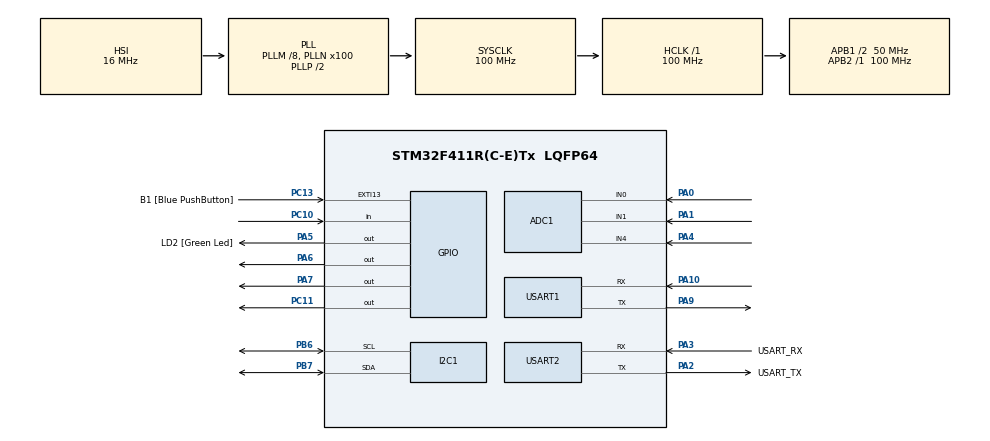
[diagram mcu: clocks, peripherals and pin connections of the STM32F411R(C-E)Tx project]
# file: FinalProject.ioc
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ADC1.Channel-0\#ChannelRegularConversion=ADC_CHANNEL_0
ADC1.Channel-1\#ChannelRegularConversion=ADC_CHANNEL_0
ADC1.Channel-2\#ChannelRegularConversion=ADC_CHANNEL_0
ADC1.NbrOfConversion=3
ADC1.NbrOfConversionFlag=1
ADC1.Rank-0\#ChannelRegularConversion=1
ADC1.Rank-1\#ChannelRegularConversion=2
ADC1.Rank-2\#ChannelRegularConversion=3
ADC1.SamplingTime-0\#ChannelRegularConversion=ADC_SAMPLETIME_3CYCLES
ADC1.SamplingTime-1\#ChannelRegularConversion=ADC_SAMPLETIME_3CYCLES
ADC1.SamplingTime-2\#ChannelRegularConversion=ADC_SAMPLETIME_3CYCLES
ADC1.master=1
I2C1.OwnAddress=1
Mcu.Family=STM32F4
Mcu.Name=STM32F411R(C-E)Tx
Mcu.Package=LQFP64
NVIC.EXTI15_10_IRQn=true\:0\:0\:false\:false\:true\:true\:true\:true
NVIC.PriorityGroup=NVIC_PRIORITYGROUP_4
NVIC.TIM2_IRQn=true\:0\:0\:false\:false\:true\:true\:true\:true
NVIC.TIM3_IRQn=true\:0\:0\:false\:false\:true\:true\:true\:true
NVIC.USART1_IRQn=true\:0\:0\:false\:false\:true\:true\:true\:true
PA0-WKUP.Signal=ADCx_IN0
PA1.Signal=ADCx_IN1
PA10.Mode=Asynchronous
PA10.Signal=USART1_RX
PA13.GPIO_Label=TMS
PA13.Mode=Serial_Wire
PA13.Signal=SYS_JTMS-SWDIO
PA14.GPIO_Label=TCK
PA14.Mode=Serial_Wire
PA14.Signal=SYS_JTCK-SWCLK
PA2.GPIO_Label=USART_TX
PA2.Mode=Asynchronous
PA2.Signal=USART2_TX
PA3.GPIO_Label=USART_RX
PA3.Mode=Asynchronous
PA3.Signal=USART2_RX
PA4.Signal=ADCx_IN4
PA5.GPIO_Label=LD2 [Green Led]
PA5.Signal=GPIO_Output
PA6.Signal=GPIO_Output
PA7.Signal=GPIO_Output
PA9.Mode=Asynchronous
PA9.Signal=USART1_TX
PB3.GPIO_Label=SWO
PB3.Signal=SYS_JTDO-SWO
PB6.Mode=I2C
PB6.Signal=I2C1_SCL
PB7.Mode=I2C
PB7.Signal=I2C1_SDA
PC10.Signal=GPIO_Input
PC11.Signal=GPIO_Output
PC13-ANTI_TAMP.GPIO_Label=B1 [Blue PushButton]
PC13-ANTI_TAMP.GPIO_ModeDefaultEXTI=GPIO_MODE_IT_FALLING
PC13-ANTI_TAMP.Signal=GPXTI13
PC14-OSC32_IN.Mode=LSE-External-Oscillator
PC14-OSC32_IN.Signal=RCC_OSC32_IN
PC15-OSC32_OUT.Mode=LSE-External-Oscillator
PC15-OSC32_OUT.Signal=RCC_OSC32_OUT
PH0\ -\ OSC_IN.Mode=HSE-External-Clock-Source
PH0\ -\ OSC_IN.Signal=RCC_OSC_IN
PH1\ -\ OSC_OUT.Mode=HSE-External-Clock-Source
PH1\ -\ OSC_OUT.Signal=RCC_OSC_OUT
ProjectManager.HeapSize=0x200
ProjectManager.StackSize=0x400
ProjectManager.TargetToolchain=STM32CubeIDE
RCC.48MHZClocksFreq_Value=50000000
RCC.AHBFreq_Value=100000000
RCC.APB1CLKDivider=RCC_HCLK_DIV2
RCC.APB1Freq_Value=50000000
RCC.APB1TimFreq_Value=100000000
RCC.APB2Freq_Value=100000000
RCC.APB2TimFreq_Value=100000000
RCC.CortexFreq_Value=100000000
RCC.FLatency-AdvancedSettings=FLASH_LATENCY_3
RCC.HCLKFreq_Value=100000000
RCC.HSE_VALUE=8000000
RCC.HSI_VALUE=16000000
RCC.PLLM=8
RCC.PLLN=100
RCC.SYSCLKFreq_VALUE=100000000
RCC.SYSCLKSource=RCC_SYSCLKSOURCE_PLLCLK
RCC.VCOOutputFreq_Value=200000000
SH.ADCx_IN0.0=ADC1_IN0,IN0
SH.ADCx_IN1.0=ADC1_IN1,IN1
SH.ADCx_IN4.0=ADC1_IN4,IN4
TIM1.Prescaler=63
TIM2.Period=10000000
TIM2.Prescaler=100
TIM3.Period=10000
TIM3.Prescaler=1000
USART1.VirtualMode=VM_ASYNC
USART2.VirtualMode=VM_ASYNC
VP_TIM1_VS_ClockSourceINT.Mode=Internal
VP_TIM2_VS_ClockSourceINT.Mode=Internal
VP_TIM3_VS_ClockSourceINT.Mode=Internal
board=NUCLEO-F411RE

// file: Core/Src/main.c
/* USER CODE BEGIN Header */
/**
  ******************************************************************************
  * @file           : main.c
  * @brief          : Main program body
  ******************************************************************************
  * @attention
  *
  * Copyright (c) 2023 STMicroelectronics.
  * All rights reserved.
  *
  * This software is licensed under terms that can be found in the LICENSE file
  * in the root directory of this software component.
  * If no LICENSE file comes with this software, it is provided AS-IS.
  *
  ******************************************************************************
  */
/* USER CODE END Header */
#include "main.h"

/* USER CODE BEGIN Includes */
#include "ds18b20.h"
#include "onewire.h"
#include "ssd1306.h"
/* USER CODE END Includes */

ADC_HandleTypeDef hadc1;

I2C_HandleTypeDef hi2c1;

TIM_HandleTypeDef htim1;
TIM_HandleTypeDef htim2;
TIM_HandleTypeDef htim3;

UART_HandleTypeDef huart1;
UART_HandleTypeDef huart2;

void SystemClock_Config(void);
static void MX_GPIO_Init(void);
static void MX_USART2_UART_Init(void);
static void MX_ADC1_Init(void);
static void MX_TIM2_Init(void);
static void MX_USART1_UART_Init(void);
static void MX_TIM1_Init(void);
static void MX_I2C1_Init(void);
static void MX_TIM3_Init(void);

/* USER CODE BEGIN 0 */
int workingInProgress = 0,dataPrepared = 0,currentPositionOfBuffer = 0;
int pressedButton = 0;
uint8_t buffer[20],receivedData[10];
ADC_ChannelConfTypeDef sConfig = {0};

void HAL_TIM_PeriodElapsedCallback(TIM_HandleTypeDef* htim){
//	HAL_UART_Transmit(&huart2, "Interrupted\n\r", 13, 100);
	if(htim->Instance == TIM3){
		if(!dataPrepared)
			return ;
		// Display the counter values via UART
		if(currentPositionOfBuffer == 12){
			HAL_UART_Transmit(&huart2, "\n\r", 2, 100);
			dataPrepared = 0;
			workingInProgress = 0;
			return ;
		}
		HAL_UART_Transmit(&huart1, &buffer[currentPositionOfBuffer], 1, 10);
		HAL_UART_Transmit(&huart2, &buffer[currentPositionOfBuffer], 1, 10);
		currentPositionOfBuffer++;
	}else if(htim->Instance == TIM2){
		pressedButton = 1;
		HAL_UART_Transmit(&huart2, "Sending...\n\r", 12, 100);
	}
}

void HAL_UART_RxCpltCallback(UART_HandleTypeDef *huart){
	workingInProgress = 0;
	HAL_UART_Receive_IT(&huart1, receivedData, 1);
}

float tempRead(){
	DS18B20_ReadAll();
	HAL_GPIO_WritePin(GPIOC, GPIO_PIN_11, 1);
	DS18B20_StartAll();
	HAL_GPIO_WritePin(GPIOC, GPIO_PIN_11, 0);
	uint8_t ROM_tmp[8];
	uint8_t i;
	float temperature;
	for(i=0;i<DS18B20_Quantity();i++){
		if(DS18B20_GetTemperature(i, &temperature)){
			return temperature;
		}
	}
}
/* USER CODE END 0 */

int main(void)
{

  /* MCU Configuration--------------------------------------------------------*/

  /* Reset of all peripherals, Initializes the Flash interface and the Systick. */
  HAL_Init();

  /* Configure the system clock */
  SystemClock_Config();

  /* Initialize all configured peripherals */
  MX_GPIO_Init();
  MX_USART2_UART_Init();
  MX_ADC1_Init();
  MX_TIM2_Init();
  MX_USART1_UART_Init();
  MX_TIM1_Init();
  MX_I2C1_Init();
  MX_TIM3_Init();
  /* USER CODE BEGIN 2 */
  HAL_TIM_Base_Start_IT(&htim2);
  HAL_TIM_Base_Start_IT(&htim3);
  HAL_UART_Receive_IT(&huart1, receivedData, 1);

  DS18B20_Init(DS18B20_Resolution_12bits);
  HAL_GPIO_WritePin(GPIOC, GPIO_PIN_11, 0);
  /* USER CODE END 2 */

  /* Infinite loop */
  /* USER CODE BEGIN WHILE */

  ssd1306_init();

  ssd1306_write_string(font11x18, "");
  ssd1306_enter();
  ssd1306_write_string(font11x18, "Hello World");
  ssd1306_enter();

  ssd1306_update_screen();

  sConfig.Channel = ADC_CHANNEL_0;
  sConfig.Rank = 1;
  sConfig.SamplingTime = ADC_SAMPLETIME_3CYCLES;
  int pressing = 0;
  HAL_UART_Transmit(&huart2, "Initialize successful\n\r", 23, HAL_MAX_DELAY);
  while (1)
  {
//	 int pressedButton = !HAL_GPIO_ReadPin(GPIOC, GPIO_PIN_13);
	 HAL_GPIO_WritePin(GPIOA, GPIO_PIN_5, !workingInProgress);
	 HAL_GPIO_WritePin(GPIOA, GPIO_PIN_7, workingInProgress);
	 HAL_GPIO_WritePin(GPIOC, GPIO_PIN_7, workingInProgress);

	 if(pressedButton && !pressing && !workingInProgress){
		 pressedButton = 0;
		 pressing = 1;
		 workingInProgress = 1;
		 dataPrepared = 0;
		 HAL_GPIO_WritePin(GPIOA, GPIO_PIN_5, GPIO_PIN_RESET);
		 HAL_GPIO_WritePin(GPIOA, GPIO_PIN_7, GPIO_PIN_SET);
		 HAL_GPIO_WritePin(GPIOC, GPIO_PIN_7, GPIO_PIN_SET);

		 ssd1306_black_screen();
		 ssd1306_set_cursor(0, 0);
		 ssd1306_write_string(font11x18, "");
		 ssd1306_enter();
		 ssd1306_write_string(font11x18, "Working...");
		 ssd1306_update_screen();

		 // get Value from thermo Sensor
		 int thermoAv = 0;
		 float thermoSum = 0;
		 for(int i=1;i<=100;i++){
			 thermoSum+=tempRead();
		 }
		 thermoAv = thermoSum/10;

		 // get Value from TDS Sensor
		 int TDSav = 0;
		 sConfig.Channel = ADC_CHANNEL_0;

		 for(int i=1;i<=100;i++){
			 HAL_ADC_ConfigChannel(&hadc1, &sConfig);
			 HAL_ADC_Start(&hadc1);
			 int adcValue;
			 if(HAL_ADC_PollForConversion(&hadc1, 100) == HAL_OK){
				adcValue = HAL_ADC_GetValue(&hadc1);
				TDSav+=adcValue;
			 }
		 }
		 TDSav = TDSav/100;
		 float averageVoltage = (TDSav * 5.0) / 1024;
		 float compensationCoefficient=1.0+0.02*(thermoAv-25.0);    //temperature compensation formula: fFinalResult(25^C) = fFinalResult(current)/(1.0+0.02*(fTP-25.0));
		 float compensationVolatge=averageVoltage/compensationCoefficient;  //temperature compensation
		 int tdsValue = (133.42*compensationVolatge*compensationVolatge*compensationVolatge - 255.86*compensationVolatge*compensationVolatge + 857.39*compensationVolatge)*0.5; //convert voltage value to tds value
		 if(tdsValue > 999)
			 tdsValue = 999;

		 // get Value from Water Sensor
		 int O2av = HAL_GPIO_ReadPin(GPIOC, GPIO_PIN_10) | 1;

		 // Convert Int to String
		 sprintf(buffer, "%04d", tdsValue);
		 sprintf(buffer+4, "%04d", thermoAv);
		 sprintf(buffer+8, "%04d", O2av);
		 buffer[0] = 'A';
		 buffer[4] = 'B';
		 buffer[8] = 'C';
		 buffer[12] = '\0';

		 currentPositionOfBuffer = 0;
		 dataPrepared = 1;

		 ssd1306_black_screen();
		 ssd1306_set_cursor(0, 0);
		 char scrBuffer[15];
		 sprintf(scrBuffer, "TDS: %dppm",tdsValue);
		 ssd1306_write_string(font11x18, scrBuffer);
		 ssd1306_enter();
		 sprintf(scrBuffer, "Temp: %d C",thermoAv/10);
		 ssd1306_write_string(font11x18, scrBuffer);
//		 ssd1306_enter();
//		 if(O2av)
//			 sprintf(scrBuffer, "Water: YES");
//		 else
//			 sprintf(scrBuffer, "Water: NO");
//		 ssd1306_write_string(font11x18, scrBuffer);
		 ssd1306_enter();
		 ssd1306_update_screen();
	 }else if(!pressedButton && pressing){
		 pressing = 0;
	 }
    /* USER CODE END WHILE */

  }
}

void SystemClock_Config(void)
{
  RCC_OscInitTypeDef RCC_OscInitStruct = {0};
  RCC_ClkInitTypeDef RCC_ClkInitStruct = {0};

  /** Configure the main internal regulator output voltage
  */
  __HAL_RCC_PWR_CLK_ENABLE();
  __HAL_PWR_VOLTAGESCALING_CONFIG(PWR_REGULATOR_VOLTAGE_SCALE1);

  /** Initializes the RCC Oscillators according to the specified parameters
  * in the RCC_OscInitTypeDef structure.
  */
  RCC_OscInitStruct.OscillatorType = RCC_OSCILLATORTYPE_HSI;
  RCC_OscInitStruct.HSIState = RCC_HSI_ON;
  RCC_OscInitStruct.HSICalibrationValue = RCC_HSICALIBRATION_DEFAULT;
  RCC_OscInitStruct.PLL.PLLState = RCC_PLL_ON;
  RCC_OscInitStruct.PLL.PLLSource = RCC_PLLSOURCE_HSI;
  RCC_OscInitStruct.PLL.PLLM = 8;
  RCC_OscInitStruct.PLL.PLLN = 100;
  RCC_OscInitStruct.PLL.PLLP = RCC_PLLP_DIV2;
  RCC_OscInitStruct.PLL.PLLQ = 4;
  if (HAL_RCC_OscConfig(&RCC_OscInitStruct) != HAL_OK)
  {
    Error_Handler();
  }

  /** Initializes the CPU, AHB and APB buses clocks
  */
  RCC_ClkInitStruct.ClockType = RCC_CLOCKTYPE_HCLK|RCC_CLOCKTYPE_SYSCLK
                              |RCC_CLOCKTYPE_PCLK1|RCC_CLOCKTYPE_PCLK2;
  RCC_ClkInitStruct.SYSCLKSource = RCC_SYSCLKSOURCE_PLLCLK;
  RCC_ClkInitStruct.AHBCLKDivider = RCC_SYSCLK_DIV1;
  RCC_ClkInitStruct.APB1CLKDivider = RCC_HCLK_DIV2;
  RCC_ClkInitStruct.APB2CLKDivider = RCC_HCLK_DIV1;

  if (HAL_RCC_ClockConfig(&RCC_ClkInitStruct, FLASH_LATENCY_3) != HAL_OK)
  {
    Error_Handler();
  }
}

static void MX_ADC1_Init(void)
{

  ADC_ChannelConfTypeDef sConfig = {0};

  /** Configure the global features of the ADC (Clock, Resolution, Data Alignment and number of conversion)
  */
  hadc1.Instance = ADC1;
  hadc1.Init.ClockPrescaler = ADC_CLOCK_SYNC_PCLK_DIV4;
  hadc1.Init.Resolution = ADC_RESOLUTION_12B;
  hadc1.Init.ScanConvMode = ENABLE;
  hadc1.Init.ContinuousConvMode = DISABLE;
  hadc1.Init.DiscontinuousConvMode = DISABLE;
  hadc1.Init.ExternalTrigConvEdge = ADC_EXTERNALTRIGCONVEDGE_NONE;
  hadc1.Init.ExternalTrigConv = ADC_SOFTWARE_START;
  hadc1.Init.DataAlign = ADC_DATAALIGN_RIGHT;
  hadc1.Init.NbrOfConversion = 3;
  hadc1.Init.DMAContinuousRequests = DISABLE;
  hadc1.Init.EOCSelection = ADC_EOC_SINGLE_CONV;
  if (HAL_ADC_Init(&hadc1) != HAL_OK)
  {
    Error_Handler();
  }

  /** Configure for the selected ADC regular channel its corresponding rank in the sequencer and its sample time.
  */
  sConfig.Channel = ADC_CHANNEL_0;
  sConfig.Rank = 1;
  sConfig.SamplingTime = ADC_SAMPLETIME_3CYCLES;
  if (HAL_ADC_ConfigChannel(&hadc1, &sConfig) != HAL_OK)
  {
    Error_Handler();
  }

  /** Configure for the selected ADC regular channel its corresponding rank in the sequencer and its sample time.
  */
  sConfig.Rank = 2;
  if (HAL_ADC_ConfigChannel(&hadc1, &sConfig) != HAL_OK)
  {
    Error_Handler();
  }

  /** Configure for the selected ADC regular channel its corresponding rank in the sequencer and its sample time.
  */
  sConfig.Rank = 3;
  if (HAL_ADC_ConfigChannel(&hadc1, &sConfig) != HAL_OK)
  {
    Error_Handler();
  }

}

static void MX_I2C1_Init(void)
{

  hi2c1.Instance = I2C1;
  hi2c1.Init.ClockSpeed = 100000;
  hi2c1.Init.DutyCycle = I2C_DUTYCYCLE_2;
  hi2c1.Init.OwnAddress1 = 2;
  hi2c1.Init.AddressingMode = I2C_ADDRESSINGMODE_7BIT;
  hi2c1.Init.DualAddressMode = I2C_DUALADDRESS_DISABLE;
  hi2c1.Init.OwnAddress2 = 0;
  hi2c1.Init.GeneralCallMode = I2C_GENERALCALL_DISABLE;
  hi2c1.Init.NoStretchMode = I2C_NOSTRETCH_DISABLE;
  if (HAL_I2C_Init(&hi2c1) != HAL_OK)
  {
    Error_Handler();
  }

}

static void MX_TIM1_Init(void)
{

  TIM_ClockConfigTypeDef sClockSourceConfig = {0};
  TIM_MasterConfigTypeDef sMasterConfig = {0};

  htim1.Instance = TIM1;
  htim1.Init.Prescaler = 63;
  htim1.Init.CounterMode = TIM_COUNTERMODE_UP;
  htim1.Init.Period = 65535;
  htim1.Init.ClockDivision = TIM_CLOCKDIVISION_DIV1;
  htim1.Init.RepetitionCounter = 0;
  htim1.Init.AutoReloadPreload = TIM_AUTORELOAD_PRELOAD_DISABLE;
  if (HAL_TIM_Base_Init(&htim1) != HAL_OK)
  {
    Error_Handler();
  }
  sClockSourceConfig.ClockSource = TIM_CLOCKSOURCE_INTERNAL;
  if (HAL_TIM_ConfigClockSource(&htim1, &sClockSourceConfig) != HAL_OK)
  {
    Error_Handler();
  }
  sMasterConfig.MasterOutputTrigger = TIM_TRGO_RESET;
  sMasterConfig.MasterSlaveMode = TIM_MASTERSLAVEMODE_DISABLE;
  if (HAL_TIMEx_MasterConfigSynchronization(&htim1, &sMasterConfig) != HAL_OK)
  {
    Error_Handler();
  }

}

static void MX_TIM2_Init(void)
{

  TIM_ClockConfigTypeDef sClockSourceConfig = {0};
  TIM_MasterConfigTypeDef sMasterConfig = {0};

  htim2.Instance = TIM2;
  htim2.Init.Prescaler = 100;
  htim2.Init.CounterMode = TIM_COUNTERMODE_UP;
  htim2.Init.Period = 10000000;
  htim2.Init.ClockDivision = TIM_CLOCKDIVISION_DIV1;
  htim2.Init.AutoReloadPreload = TIM_AUTORELOAD_PRELOAD_DISABLE;
  if (HAL_TIM_Base_Init(&htim2) != HAL_OK)
  {
    Error_Handler();
  }
  sClockSourceConfig.ClockSource = TIM_CLOCKSOURCE_INTERNAL;
  if (HAL_TIM_ConfigClockSource(&htim2, &sClockSourceConfig) != HAL_OK)
  {
    Error_Handler();
  }
  sMasterConfig.MasterOutputTrigger = TIM_TRGO_RESET;
  sMasterConfig.MasterSlaveMode = TIM_MASTERSLAVEMODE_DISABLE;
  if (HAL_TIMEx_MasterConfigSynchronization(&htim2, &sMasterConfig) != HAL_OK)
  {
    Error_Handler();
  }

}

static void MX_TIM3_Init(void)
{

  TIM_ClockConfigTypeDef sClockSourceConfig = {0};
  TIM_MasterConfigTypeDef sMasterConfig = {0};

  htim3.Instance = TIM3;
  htim3.Init.Prescaler = 1000;
  htim3.Init.CounterMode = TIM_COUNTERMODE_UP;
  htim3.Init.Period = 10000;
  htim3.Init.ClockDivision = TIM_CLOCKDIVISION_DIV1;
  htim3.Init.AutoReloadPreload = TIM_AUTORELOAD_PRELOAD_DISABLE;
  if (HAL_TIM_Base_Init(&htim3) != HAL_OK)
  {
    Error_Handler();
  }
  sClockSourceConfig.ClockSource = TIM_CLOCKSOURCE_INTERNAL;
  if (HAL_TIM_ConfigClockSource(&htim3, &sClockSourceConfig) != HAL_OK)
  {
    Error_Handler();
  }
  sMasterConfig.MasterOutputTrigger = TIM_TRGO_RESET;
  sMasterConfig.MasterSlaveMode = TIM_MASTERSLAVEMODE_DISABLE;
  if (HAL_TIMEx_MasterConfigSynchronization(&htim3, &sMasterConfig) != HAL_OK)
  {
    Error_Handler();
  }

}

static void MX_USART1_UART_Init(void)
{

  huart1.Instance = USART1;
  huart1.Init.BaudRate = 115200;
  huart1.Init.WordLength = UART_WORDLENGTH_8B;
  huart1.Init.StopBits = UART_STOPBITS_1;
  huart1.Init.Parity = UART_PARITY_NONE;
  huart1.Init.Mode = UART_MODE_TX_RX;
  huart1.Init.HwFlowCtl = UART_HWCONTROL_NONE;
  huart1.Init.OverSampling = UART_OVERSAMPLING_16;
  if (HAL_UART_Init(&huart1) != HAL_OK)
  {
    Error_Handler();
  }

}

static void MX_USART2_UART_Init(void)
{

  huart2.Instance = USART2;
  huart2.Init.BaudRate = 115200;
  huart2.Init.WordLength = UART_WORDLENGTH_8B;
  huart2.Init.StopBits = UART_STOPBITS_1;
  huart2.Init.Parity = UART_PARITY_NONE;
  huart2.Init.Mode = UART_MODE_TX_RX;
  huart2.Init.HwFlowCtl = UART_HWCONTROL_NONE;
  huart2.Init.OverSampling = UART_OVERSAMPLING_16;
  if (HAL_UART_Init(&huart2) != HAL_OK)
  {
    Error_Handler();
  }

}

static void MX_GPIO_Init(void)
{
  GPIO_InitTypeDef GPIO_InitStruct = {0};

  /* GPIO Ports Clock Enable */
  __HAL_RCC_GPIOC_CLK_ENABLE();
  __HAL_RCC_GPIOH_CLK_ENABLE();
  __HAL_RCC_GPIOA_CLK_ENABLE();
  __HAL_RCC_GPIOB_CLK_ENABLE();

  /*Configure GPIO pin Output Level */
  HAL_GPIO_WritePin(GPIOA, LD2_Pin|GPIO_PIN_6|GPIO_PIN_7, GPIO_PIN_RESET);

  /*Configure GPIO pin Output Level */
  HAL_GPIO_WritePin(GPIOC, GPIO_PIN_11, GPIO_PIN_RESET);

  /*Configure GPIO pin : B1_Pin */
  GPIO_InitStruct.Pin = B1_Pin;
  GPIO_InitStruct.Mode = GPIO_MODE_IT_FALLING;
  GPIO_InitStruct.Pull = GPIO_NOPULL;
  HAL_GPIO_Init(B1_GPIO_Port, &GPIO_InitStruct);

  /*Configure GPIO pins : LD2_Pin PA6 PA7 */
  GPIO_InitStruct.Pin = LD2_Pin|GPIO_PIN_6|GPIO_PIN_7;
  GPIO_InitStruct.Mode = GPIO_MODE_OUTPUT_PP;
  GPIO_InitStruct.Pull = GPIO_NOPULL;
  GPIO_InitStruct.Speed = GPIO_SPEED_FREQ_LOW;
  HAL_GPIO_Init(GPIOA, &GPIO_InitStruct);

  /*Configure GPIO pin : PC10 */
  GPIO_InitStruct.Pin = GPIO_PIN_10;
  GPIO_InitStruct.Mode = GPIO_MODE_INPUT;
  GPIO_InitStruct.Pull = GPIO_NOPULL;
  HAL_GPIO_Init(GPIOC, &GPIO_InitStruct);

  /*Configure GPIO pin : PC11 */
  GPIO_InitStruct.Pin = GPIO_PIN_11;
  GPIO_InitStruct.Mode = GPIO_MODE_OUTPUT_PP;
  GPIO_InitStruct.Pull = GPIO_NOPULL;
  GPIO_InitStruct.Speed = GPIO_SPEED_FREQ_LOW;
  HAL_GPIO_Init(GPIOC, &GPIO_InitStruct);

  /* EXTI interrupt init*/
  HAL_NVIC_SetPriority(EXTI15_10_IRQn, 0, 0);
  HAL_NVIC_EnableIRQ(EXTI15_10_IRQn);

}

void Error_Handler(void)
{
  __disable_irq();
  while (1)
  {
  }
}
